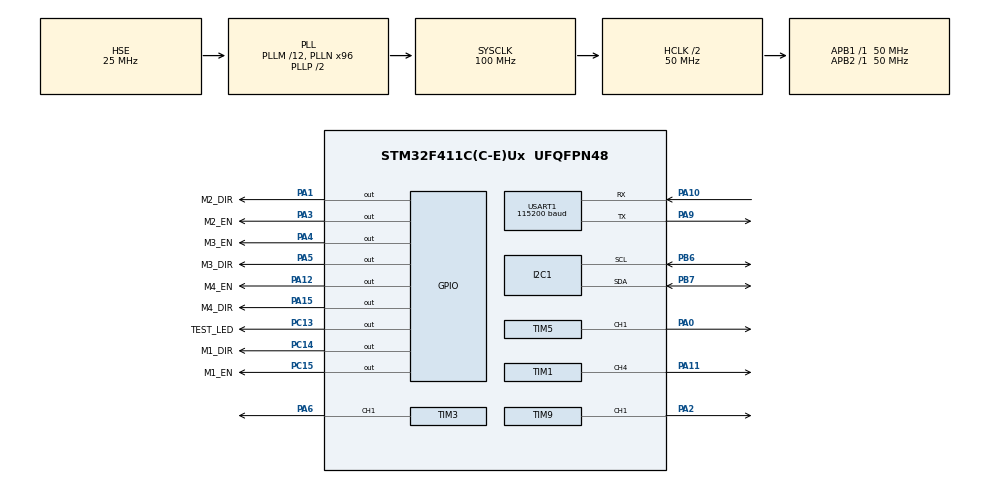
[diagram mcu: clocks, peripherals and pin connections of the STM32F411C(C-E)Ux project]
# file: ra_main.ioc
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Dma.I2C1_RX.1.Direction=DMA_PERIPH_TO_MEMORY
Dma.I2C1_RX.1.FIFOMode=DMA_FIFOMODE_DISABLE
Dma.I2C1_RX.1.Instance=DMA1_Stream0
Dma.I2C1_RX.1.MemDataAlignment=DMA_MDATAALIGN_BYTE
Dma.I2C1_RX.1.MemInc=DMA_MINC_ENABLE
Dma.I2C1_RX.1.Mode=DMA_NORMAL
Dma.I2C1_RX.1.PeriphDataAlignment=DMA_PDATAALIGN_BYTE
Dma.I2C1_RX.1.PeriphInc=DMA_PINC_DISABLE
Dma.I2C1_RX.1.Priority=DMA_PRIORITY_LOW
Dma.I2C1_TX.0.Direction=DMA_MEMORY_TO_PERIPH
Dma.I2C1_TX.0.FIFOMode=DMA_FIFOMODE_DISABLE
Dma.I2C1_TX.0.Instance=DMA1_Stream1
Dma.I2C1_TX.0.MemDataAlignment=DMA_MDATAALIGN_BYTE
Dma.I2C1_TX.0.MemInc=DMA_MINC_ENABLE
Dma.I2C1_TX.0.Mode=DMA_NORMAL
Dma.I2C1_TX.0.PeriphDataAlignment=DMA_PDATAALIGN_BYTE
Dma.I2C1_TX.0.PeriphInc=DMA_PINC_DISABLE
Dma.I2C1_TX.0.Priority=DMA_PRIORITY_LOW
Dma.Request0=I2C1_TX
Dma.Request1=I2C1_RX
Dma.Request2=USART1_RX
Dma.Request3=USART1_TX
Dma.USART1_RX.2.Direction=DMA_PERIPH_TO_MEMORY
Dma.USART1_RX.2.FIFOMode=DMA_FIFOMODE_DISABLE
Dma.USART1_RX.2.Instance=DMA2_Stream2
Dma.USART1_RX.2.MemDataAlignment=DMA_MDATAALIGN_BYTE
Dma.USART1_RX.2.MemInc=DMA_MINC_ENABLE
Dma.USART1_RX.2.Mode=DMA_NORMAL
Dma.USART1_RX.2.PeriphDataAlignment=DMA_PDATAALIGN_BYTE
Dma.USART1_RX.2.PeriphInc=DMA_PINC_DISABLE
Dma.USART1_RX.2.Priority=DMA_PRIORITY_LOW
Dma.USART1_TX.3.Direction=DMA_MEMORY_TO_PERIPH
Dma.USART1_TX.3.FIFOMode=DMA_FIFOMODE_DISABLE
Dma.USART1_TX.3.Instance=DMA2_Stream7
Dma.USART1_TX.3.MemDataAlignment=DMA_MDATAALIGN_BYTE
Dma.USART1_TX.3.MemInc=DMA_MINC_ENABLE
Dma.USART1_TX.3.Mode=DMA_NORMAL
Dma.USART1_TX.3.PeriphDataAlignment=DMA_PDATAALIGN_BYTE
Dma.USART1_TX.3.PeriphInc=DMA_PINC_DISABLE
Dma.USART1_TX.3.Priority=DMA_PRIORITY_LOW
FREERTOS.BinarySemaphores01=uartSem,Dynamic,NULL,Available
FREERTOS.Mutexes01=as5600,Dynamic,NULL,Depleted;uartMutex,Dynamic,NULL,Depleted;qArraysMutex,Dynamic,NULL,Available
FREERTOS.Tasks01=defaultTask,24,128,StartDefaultTask,Default,NULL,Dynamic,NULL,NULL;as5600Task,40,128,ReadAs5600Task,Default,NULL,Dynamic,NULL,NULL;controllerTask,8,128,RunControllerTask,Default,NULL,Dynamic,NULL,NULL;DataTxTask,8,128,DataTxFcn,Default,NULL,Dynamic,NULL,NULL;TrajTask,8,128,TrajFcn,Default,NULL,Dynamic,NULL,NULL
FREERTOS.configENABLE_FPU=1
FREERTOS.configUSE_NEWLIB_REENTRANT=1
I2C1.I2C_Mode=I2C_Fast
Mcu.Family=STM32F4
Mcu.Name=STM32F411C(C-E)Ux
Mcu.Package=UFQFPN48
NVIC.DMA1_Stream0_IRQn=true\:5\:0\:false\:false\:true\:true\:false\:true\:true
NVIC.DMA1_Stream1_IRQn=true\:5\:0\:false\:false\:true\:true\:false\:true\:true
NVIC.DMA2_Stream2_IRQn=true\:5\:0\:false\:false\:true\:true\:false\:true\:true
NVIC.DMA2_Stream7_IRQn=true\:5\:0\:false\:false\:true\:true\:false\:true\:true
NVIC.I2C1_ER_IRQn=true\:5\:0\:false\:false\:true\:true\:true\:true\:true
NVIC.I2C1_EV_IRQn=true\:5\:0\:false\:false\:true\:true\:true\:true\:true
NVIC.PriorityGroup=NVIC_PRIORITYGROUP_4
NVIC.TIM1_TRG_COM_TIM11_IRQn=true\:5\:0\:false\:false\:true\:true\:true\:true\:true
NVIC.TimeBase=TIM1_TRG_COM_TIM11_IRQn
NVIC.TimeBaseIP=TIM11
NVIC.USART1_IRQn=true\:5\:0\:false\:false\:true\:true\:true\:true\:true
PA0-WKUP.GPIO_ModeDefaultPP=GPIO_MODE_AF_PP
PA0-WKUP.GPIO_PuPd=GPIO_NOPULL
PA0-WKUP.GPIO_Speed=GPIO_SPEED_FREQ_LOW
PA0-WKUP.Signal=S_TIM5_CH1
PA1.GPIO_Label=M2_DIR
PA1.Signal=GPIO_Output
PA10.Mode=Asynchronous
PA10.Signal=USART1_RX
PA11.Signal=S_TIM1_CH4
PA12.GPIO_Label=M4_EN
PA12.Signal=GPIO_Output
PA13.Mode=Serial_Wire
PA13.Signal=SYS_JTMS-SWDIO
PA14.Mode=Serial_Wire
PA14.Signal=SYS_JTCK-SWCLK
PA15.GPIO_Label=M4_DIR
PA15.Signal=GPIO_Output
PA2.GPIO_PuPd=GPIO_PULLDOWN
PA2.GPIO_Speed=GPIO_SPEED_FREQ_HIGH
PA2.Signal=S_TIM9_CH1
PA3.GPIO_Label=M2_EN
PA3.Signal=GPIO_Output
PA4.GPIO_Label=M3_EN
PA4.Signal=GPIO_Output
PA5.GPIO_Label=M3_DIR
PA5.Signal=GPIO_Output
PA6.Signal=S_TIM3_CH1
PA9.Mode=Asynchronous
PA9.Signal=USART1_TX
PB6.GPIO_Pu=GPIO_PULLUP
PB6.Mode=I2C
PB6.Signal=I2C1_SCL
PB7.GPIO_Pu=GPIO_PULLUP
PB7.Mode=I2C
PB7.Signal=I2C1_SDA
PC13-ANTI_TAMP.GPIO_Label=TEST_LED
PC13-ANTI_TAMP.Signal=GPIO_Output
PC14-OSC32_IN.GPIO_Label=M1_DIR
PC14-OSC32_IN.Signal=GPIO_Output
PC15-OSC32_OUT.GPIO_Label=M1_EN
PC15-OSC32_OUT.GPIO_PuPd=GPIO_PULLDOWN
PC15-OSC32_OUT.Signal=GPIO_Output
PH0\ -\ OSC_IN.Mode=HSE-External-Oscillator
PH0\ -\ OSC_IN.Signal=RCC_OSC_IN
PH1\ -\ OSC_OUT.Mode=HSE-External-Oscillator
PH1\ -\ OSC_OUT.Signal=RCC_OSC_OUT
ProjectManager.HeapSize=0x200
ProjectManager.StackSize=0x400
ProjectManager.TargetToolchain=STM32CubeIDE
RCC.48MHZClocksFreq_Value=50000000
RCC.AHBCLKDivider=RCC_SYSCLK_DIV2
RCC.AHBFreq_Value=50000000
RCC.APB1Freq_Value=50000000
RCC.APB1TimFreq_Value=50000000
RCC.APB2Freq_Value=50000000
RCC.APB2TimFreq_Value=50000000
RCC.CortexFreq_Value=50000000
RCC.HCLKFreq_Value=50000000
RCC.HSE_VALUE=25000000
RCC.HSI_VALUE=16000000
RCC.LSE_VALUE=32768
RCC.PLLM=12
RCC.PLLN=96
RCC.PLLSourceVirtual=RCC_PLLSOURCE_HSE
RCC.SYSCLKFreq_VALUE=100000000
RCC.SYSCLKSource=RCC_SYSCLKSOURCE_PLLCLK
RCC.VCOOutputFreq_Value=200000000
SH.S_TIM1_CH4.0=TIM1_CH4,Output Compare4 CH4
SH.S_TIM3_CH1.0=TIM3_CH1,Output Compare1 CH1
SH.S_TIM5_CH1.0=TIM5_CH1,Output Compare1 CH1
SH.S_TIM9_CH1.0=TIM9_CH1,Output Compare1 CH1
STMicroelectronics.X-CUBE-ALGOBUILD.1.4.0.LibraryCcDSPOoLibraryJjDSPOoLibrary=true
TIM1.AutoReloadPreload=TIM_AUTORELOAD_PRELOAD_ENABLE
TIM1.Channel-Output\ Compare4\ CH4=TIM_CHANNEL_4
TIM1.OC4Preload=ENABLE
TIM1.OCMode_4=TIM_OCMODE_TOGGLE
TIM1.Prescaler=65535
TIM3.AutoReloadPreload=TIM_AUTORELOAD_PRELOAD_ENABLE
TIM3.Channel-Output\ Compare1\ CH1=TIM_CHANNEL_1
TIM3.OC1Preload=ENABLE
TIM3.OCMode_1=TIM_OCMODE_TOGGLE
TIM3.Prescaler=65535
TIM5.AutoReloadPreload=TIM_AUTORELOAD_PRELOAD_ENABLE
TIM5.Channel-Output\ Compare1\ CH1=TIM_CHANNEL_1
TIM5.OC1Preload=ENABLE
TIM5.OCMode_1=TIM_OCMODE_TOGGLE
TIM5.Period=65535
TIM5.Prescaler=65535
TIM9.AutoReloadPreload=TIM_AUTORELOAD_PRELOAD_ENABLE
TIM9.Channel-Output\ Compare1\ CH1=TIM_CHANNEL_1
TIM9.OC1Preload=ENABLE
TIM9.OCMode_1=TIM_OCMODE_TOGGLE
TIM9.Prescaler=65535
USART1.BaudRate=115200
USART1.VirtualMode=VM_ASYNC
VP_FREERTOS_VS_CMSIS_V2.Mode=CMSIS_V2
VP_STMicroelectronics.X-CUBE-ALGOBUILD_VS_DSPOoLibraryJjLibrary_1.4.0_1.4.0.Mode=DSPOoLibraryJjLibrary
VP_SYS_VS_tim11.Mode=TIM11
VP_TIM1_VS_ClockSourceINT.Mode=Internal
VP_TIM3_VS_ClockSourceINT.Mode=Internal
VP_TIM5_VS_ClockSourceINT.Mode=Internal
VP_TIM9_VS_ClockSourceINT.Mode=Internal
board=custom

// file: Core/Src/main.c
/* USER CODE BEGIN Header */
/**
  ******************************************************************************
  * @file           : main.c
  * @brief          : Main program body
  ******************************************************************************
  * @attention
  *
  * Copyright (c) 2025 STMicroelectronics.
  * All rights reserved.
  *
  * This software is licensed under terms that can be found in the LICENSE file
  * in the root directory of this software component.
  * If no LICENSE file comes with this software, it is provided AS-IS.
  *
  ******************************************************************************
  */
/* USER CODE END Header */
#include "main.h"
#include "cmsis_os.h"
#include "dma.h"
#include "i2c.h"
#include "tim.h"
#include "usart.h"
#include "gpio.h"

/* USER CODE BEGIN Includes */
#include "app_includes.h"
/* USER CODE END Includes */

void SystemClock_Config(void);
void MX_FREERTOS_Init(void);

int main(void)
{

  /* MCU Configuration--------------------------------------------------------*/

  /* Reset of all peripherals, Initializes the Flash interface and the Systick. */
  HAL_Init();

  /* Configure the system clock */
  SystemClock_Config();

  /* Initialize all configured peripherals */
  MX_GPIO_Init();
  MX_DMA_Init();
  MX_USART1_UART_Init();
  MX_I2C1_Init();
  MX_TIM5_Init();
  MX_TIM9_Init();
  MX_TIM3_Init();
  MX_TIM1_Init();
  /* USER CODE BEGIN 2 */
  App_Init();
  /* USER CODE END 2 */

  /* Init scheduler */
  osKernelInitialize();

  /* Call init function for freertos objects (in cmsis_os2.c) */
  MX_FREERTOS_Init();

  /* Start scheduler */
  osKernelStart();

  /* We should never get here as control is now taken by the scheduler */

  /* Infinite loop */
  while (1)
  {

    /* USER CODE BEGIN 3 */
//	  if(globalControllerFlag)
//	  {
//		  globalControllerFlag = 0;
//
//		  float controller_dt = DWT_GetDeltaTime();
//		  pidObj.dt = (float32_t)controller_dt;
//
//		  Trajectory_Compute(&robotTraj, (float32_t)controller_dt);
//
//		  MultivariablePID_SetSetpoint(&pidObj, q_set);
//		  MultivariablePID_Compute(&pidObj, q_meas);
//
//		  StepMotor_SetSpeedLUT(&l1_motor, pidObj.output_data[0]);
//		  StepMotor_SetSpeedLUT(&l2_motor, pidObj.output_data[1]);
//	  }
//
  }
  /* USER CODE END 3 */
}

void SystemClock_Config(void)
{
  RCC_OscInitTypeDef RCC_OscInitStruct = {0};
  RCC_ClkInitTypeDef RCC_ClkInitStruct = {0};

  /** Configure the main internal regulator output voltage
  */
  __HAL_RCC_PWR_CLK_ENABLE();
  __HAL_PWR_VOLTAGESCALING_CONFIG(PWR_REGULATOR_VOLTAGE_SCALE1);

  /** Initializes the RCC Oscillators according to the specified parameters
  * in the RCC_OscInitTypeDef structure.
  */
  RCC_OscInitStruct.OscillatorType = RCC_OSCILLATORTYPE_HSE;
  RCC_OscInitStruct.HSEState = RCC_HSE_ON;
  RCC_OscInitStruct.PLL.PLLState = RCC_PLL_ON;
  RCC_OscInitStruct.PLL.PLLSource = RCC_PLLSOURCE_HSE;
  RCC_OscInitStruct.PLL.PLLM = 12;
  RCC_OscInitStruct.PLL.PLLN = 96;
  RCC_OscInitStruct.PLL.PLLP = RCC_PLLP_DIV2;
  RCC_OscInitStruct.PLL.PLLQ = 4;
  if (HAL_RCC_OscConfig(&RCC_OscInitStruct) != HAL_OK)
  {
    Error_Handler();
  }

  /** Initializes the CPU, AHB and APB buses clocks
  */
  RCC_ClkInitStruct.ClockType = RCC_CLOCKTYPE_HCLK|RCC_CLOCKTYPE_SYSCLK
                              |RCC_CLOCKTYPE_PCLK1|RCC_CLOCKTYPE_PCLK2;
  RCC_ClkInitStruct.SYSCLKSource = RCC_SYSCLKSOURCE_PLLCLK;
  RCC_ClkInitStruct.AHBCLKDivider = RCC_SYSCLK_DIV2;
  RCC_ClkInitStruct.APB1CLKDivider = RCC_HCLK_DIV1;
  RCC_ClkInitStruct.APB2CLKDivider = RCC_HCLK_DIV1;

  if (HAL_RCC_ClockConfig(&RCC_ClkInitStruct, FLASH_LATENCY_1) != HAL_OK)
  {
    Error_Handler();
  }
}

void HAL_TIM_PeriodElapsedCallback(TIM_HandleTypeDef *htim)
{
  if (htim->Instance == TIM11)
  {
    HAL_IncTick();
  }
}

void Error_Handler(void)
{
  __disable_irq();
  while (1)
  {
  }
}

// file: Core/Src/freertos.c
/* USER CODE BEGIN Header */
/**
  ******************************************************************************
  * File Name          : freertos.c
  * Description        : Code for freertos applications
  ******************************************************************************
  * @attention
  *
  * Copyright (c) 2025 STMicroelectronics.
  * All rights reserved.
  *
  * This software is licensed under terms that can be found in the LICENSE file
  * in the root directory of this software component.
  * If no LICENSE file comes with this software, it is provided AS-IS.
  *
  ******************************************************************************
  */
/* USER CODE END Header */

#include "FreeRTOS.h"
#include "task.h"
#include "main.h"
#include "cmsis_os.h"

/* USER CODE BEGIN Includes */
#include "app_includes.h"
/* USER CODE END Includes */

/* USER CODE BEGIN PM */
#define FREQ_TO_MS(freq)     (1000 / (freq))                // Hz to milliseconds
#define FREQ_TO_TICKS(freq)  pdMS_TO_TICKS(FREQ_TO_MS(freq))	// Hz to RTOS ticks
/* USER CODE END PM */

/* USER CODE BEGIN Variables */
char uart_tx_buf[128];
volatile bool uartCmdPending = false;
/* USER CODE END Variables */
/* Definitions for defaultTask */
osThreadId_t defaultTaskHandle;
const osThreadAttr_t defaultTask_attributes = {
  .name = "defaultTask",
  .stack_size = 128 * 4,
  .priority = (osPriority_t) osPriorityNormal,
};
/* Definitions for as5600Task */
osThreadId_t as5600TaskHandle;
const osThreadAttr_t as5600Task_attributes = {
  .name = "as5600Task",
  .stack_size = 128 * 4,
  .priority = (osPriority_t) osPriorityHigh,
};
/* Definitions for controllerTask */
osThreadId_t controllerTaskHandle;
const osThreadAttr_t controllerTask_attributes = {
  .name = "controllerTask",
  .stack_size = 128 * 4,
  .priority = (osPriority_t) osPriorityLow,
};
/* Definitions for DataTxTask */
osThreadId_t DataTxTaskHandle;
const osThreadAttr_t DataTxTask_attributes = {
  .name = "DataTxTask",
  .stack_size = 128 * 4,
  .priority = (osPriority_t) osPriorityLow,
};
/* Definitions for TrajTask */
osThreadId_t TrajTaskHandle;
const osThreadAttr_t TrajTask_attributes = {
  .name = "TrajTask",
  .stack_size = 128 * 4,
  .priority = (osPriority_t) osPriorityLow,
};
/* Definitions for as5600 */
osMutexId_t as5600Handle;
const osMutexAttr_t as5600_attributes = {
  .name = "as5600"
};
/* Definitions for uartMutex */
osMutexId_t uartMutexHandle;
const osMutexAttr_t uartMutex_attributes = {
  .name = "uartMutex"
};
/* Definitions for qArraysMutex */
osMutexId_t qArraysMutexHandle;
const osMutexAttr_t qArraysMutex_attributes = {
  .name = "qArraysMutex"
};
/* Definitions for uartSem */
osSemaphoreId_t uartSemHandle;
const osSemaphoreAttr_t uartSem_attributes = {
  .name = "uartSem"
};

/* USER CODE BEGIN FunctionPrototypes */
void MyProcessCommand(SerialComm_HandleTypeDef* hserial);
/* USER CODE END FunctionPrototypes */

void StartDefaultTask(void *argument);
void ReadAs5600Task(void *argument);
void RunControllerTask(void *argument);
void DataTxFcn(void *argument);
void TrajFcn(void *argument);

void MX_FREERTOS_Init(void); /* (MISRA C 2004 rule 8.1) */

void MX_FREERTOS_Init(void) {
  /* Create the mutex(es) */
  /* creation of as5600 */
  as5600Handle = osMutexNew(&as5600_attributes);

  /* creation of uartMutex */
  uartMutexHandle = osMutexNew(&uartMutex_attributes);

  /* creation of qArraysMutex */
  qArraysMutexHandle = osMutexNew(&qArraysMutex_attributes);

  /* Create the semaphores(s) */
  /* creation of uartSem */
  uartSemHandle = osSemaphoreNew(1, 1, &uartSem_attributes);

  /* Create the thread(s) */
  /* creation of defaultTask */
  defaultTaskHandle = osThreadNew(StartDefaultTask, NULL, &defaultTask_attributes);

  /* creation of as5600Task */
  as5600TaskHandle = osThreadNew(ReadAs5600Task, NULL, &as5600Task_attributes);

  /* creation of controllerTask */
  controllerTaskHandle = osThreadNew(RunControllerTask, NULL, &controllerTask_attributes);

  /* creation of DataTxTask */
  DataTxTaskHandle = osThreadNew(DataTxFcn, NULL, &DataTxTask_attributes);

  /* creation of TrajTask */
  TrajTaskHandle = osThreadNew(TrajFcn, NULL, &TrajTask_attributes);

}

void StartDefaultTask(void *argument)
{
  /* USER CODE BEGIN StartDefaultTask */

  /* Infinite loop */
  for(;;)
  {
	  if (appSerialHandle.responseReadyFlag == 1) {
		  MyProcessCommand(&appSerialHandle);
		  if (osMutexAcquire(uartMutexHandle, osWaitForever) == osOK) {
			  SerialComm_Transmit(&appSerialHandle);

			  if (osSemaphoreAcquire(uartSemHandle, pdMS_TO_TICKS(500)) != osOK) {
			      sprintf((char*)appSerialHandle.pTxBuffer, "TX timeout.\n");
			  }
			  appSerialHandle.responseReadyFlag = 0;

			  osMutexRelease(uartMutexHandle);
		  }
	  }
	  osDelay(1);
  }
  /* USER CODE END StartDefaultTask */
}

void ReadAs5600Task(void *argument)
{
  /* USER CODE BEGIN ReadAs5600Task */
	TickType_t xLastWakeTime;
	const TickType_t xPeriodTicks = FREQ_TO_TICKS(APP_ENCODER_FREQ);

	xLastWakeTime = xTaskGetTickCount();
  /* Infinite loop */
  for(;;)
  {
	  if (osMutexAcquire(as5600Handle, osWaitForever) == osOK) {
		  appMuxStatus = AS5600_MUX_ReadAllPolling(&appMuxHandle);
		  osMutexRelease(as5600Handle);
	  }

	  vTaskDelayUntil(&xLastWakeTime, xPeriodTicks);
  }
  /* USER CODE END ReadAs5600Task */
}

void RunControllerTask(void *argument)
{
  /* USER CODE BEGIN RunControllerTask */
	TickType_t xLastWakeTime;
	const TickType_t xPeriodTicks = FREQ_TO_TICKS(APP_CONTROLLER_FREQ);

	xLastWakeTime = xTaskGetTickCount();
  /* Infinite loop */
  for(;;)
  {
	  // Set new reference angles
	  MultivariablePID_SetSetpoint(&appPidObj, q_set);

	  // Update measurements
      osMutexAcquire(as5600Handle, osWaitForever);
      for (uint8_t i = 0; i < appMuxHandle.num_channels; i++) {
          q_meas[i] = appMuxHandle.channel_raw_values[i];
      }
      osMutexRelease(as5600Handle);

      // Compute PID Controller
      MultivariablePID_Compute(&appPidObj, q_meas);
	  for (int i=0; i<NUM_JOINTS; i++) {
		  q_out[i] = appPidObj.output_data[i];
	  }

	  // Send signals to motors
	  STEPMOTOR_MultiSetSpeed(appStepMotors, q_out, NUM_JOINTS);

	  vTaskDelayUntil(&xLastWakeTime, xPeriodTicks);
  }
  /* USER CODE END RunControllerTask */
}

void DataTxFcn(void *argument)
{
  /* USER CODE BEGIN DataTxFcn */
//	char buf[16];
//	uint8_t len;
  /* Infinite loop */
  for(;;)
  {

//	len = sprintf(buf, "<s>%d<e>", val);
//
//	if (osMutexAcquire(uartMutexHandle, osWaitForever) == osOK) {
//	  HAL_UART_Transmit_DMA(&huart1, (uint8_t*)buf, len);
//	  osSemaphoreAcquire(uartSemHandle, osWaitForever);
//	  osMutexRelease(uartMutexHandle);
//	}
    osDelay(1);
  }
  /* USER CODE END DataTxFcn */
}

void TrajFcn(void *argument)
{
  /* USER CODE BEGIN TrajFcn */
	TickType_t xLastWakeTime;
	const TickType_t xPeriodTicks = FREQ_TO_TICKS(APP_TRAJ_FREQ);
//	char buf[16];
//	uint8_t len;
//	uint32_t i = 0; // Counter for sine wave phase
////	const float PI = 3.1415926535f; // Define PI
//	const uint16_t AMPLITUDE = 2047; // Half of 4095 (peak to peak)
//	const uint16_t OFFSET = 2048;   // Center of the sine wave (0-4095 range)

  /* Infinite loop */
  for(;;)
  {
      // Calculate sine wave value
      // The sine function returns values from -1 to 1.
      // We scale it by AMPLITUDE, then add OFFSET to shift it to 0-4095.
      // i is incremented to change the phase over time.
//      uint16_t val = (uint16_t)(AMPLITUDE * sinf(i * (2 * PI / 100.0f)) + OFFSET); // 100.0f controls the speed/frequency of the sine wave
//
//	  len = sprintf(buf, "<s>%d<e>\n", val);
//
//	  if (osMutexAcquire(uartMutexHandle, osWaitForever) == osOK) {
//
//		  HAL_UART_Transmit_DMA(&huart1, (uint8_t*)buf, len);
//		  osSemaphoreAcquire(uartSemHandle, osWaitForever);
//
//		  osMutexRelease(uartMutexHandle);
//	  }

	vTaskDelayUntil(&xLastWakeTime, xPeriodTicks);
  }
  /* USER CODE END TrajFcn */
}

/* USER CODE BEGIN Application */
void MyProcessCommand(SerialComm_HandleTypeDef* hserial) {
    uint8_t* data = hserial->pRxBuffer;
    uint16_t encodedCommand = (data[0] << 8) | data[1];

    memset(hserial->pTxBuffer, 0, hserial->txBufferSize);

    switch (encodedCommand) {
        case CMD_TEST_LED:
            Parse_CMD_TEST_LED(hserial);
            break;

        case CMD_MOTOR_STATE:
            Parse_CMD_MOTOR_STATE(hserial);
            break;

        case CMD_MOTOR_REF:
            Parse_CMD_MOTOR_REF(hserial);
            break;

		case CMD_SET_PID:
            Parse_CMD_SET_PID(hserial, data, &appPidObj);
            break;

        default:
            sprintf((char *)hserial->pTxBuffer, "<d>Unknown command: 0x%04X ('%c%c')\n", encodedCommand, data[0], data[1]);
            break;
    }

    memset(hserial->pRxBuffer, 0, hserial->rxBufferSize);
}

void HAL_UART_TxCpltCallback(UART_HandleTypeDef *huart) {
    if (huart == &huart1) {
        osSemaphoreRelease(uartSemHandle);
    }
}
void HAL_UART_RxCpltCallback(UART_HandleTypeDef *huart) {
    if (huart == SERIALCOMM_UART) {
    	SerialComm_RxCpltCallback(&appSerialHandle);
    }
}
/* USER CODE END Application */
